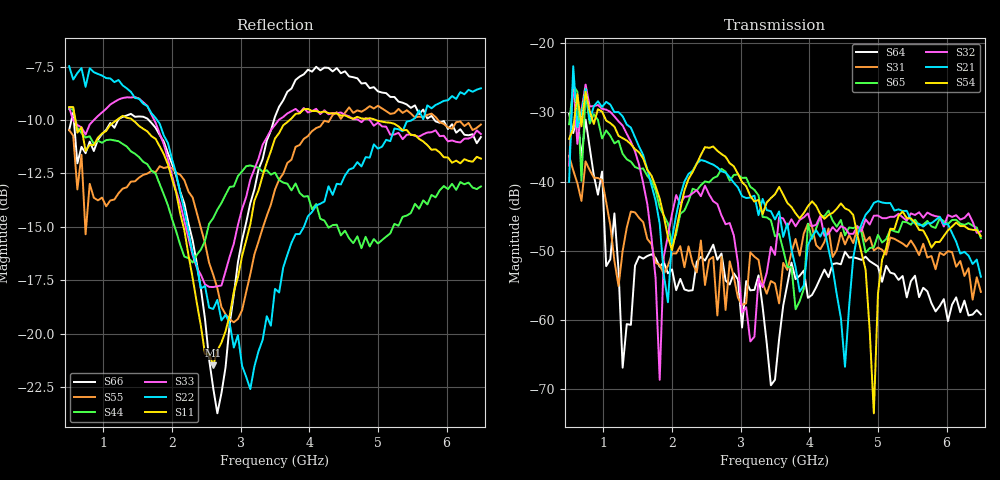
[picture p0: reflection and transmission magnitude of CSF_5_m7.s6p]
!Keysight Technologies,M9804A,MY58100912,A.14.10.03
!Date: Thursday, April 27, 2023 10:28:33
!Correction: S11(C  6-Port  )
!S12(C  6-Port  )
!S13(C  6-Port  )
!S14(C  6-Port  )
!S15(C  6-Port  )
!S16(C  6-Port  )
!S21(C  6-Port  )
!S22(C  6-Port  )
!S23(C  6-Port  )
!S24(C  6-Port  )
!S25(C  6-Port  )
!S26(C  6-Port  )
!S31(C  6-Port  )
!S32(C  6-Port  )
!S33(C  6-Port  )
!S34(C  6-Port  )
!S35(C  6-Port  )
!S36(C  6-Port  )
!S41(C  6-Port  )
!S42(C  6-Port  )
!S43(C  6-Port  )
!S44(C  6-Port  )
!S45(C  6-Port  )
!S46(C  6-Port  )
!S51(C  6-Port  )
!S52(C  6-Port  )
!S53(C  6-Port  )
!S54(C  6-Port  )
!S55(C  6-Port  )
!S56(C  6-Port  )
!S61(C  6-Port  )
!S62(C  6-Port  )
!S63(C  6-Port  )
!S64(C  6-Port  )
!S65(C  6-Port  )
!S66(C  6-Port  )
!S6P File: Measurement: :
# Hz S  RI  R 50
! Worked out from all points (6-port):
!   101 points, 500 MHz to 6.5 GHz, reference 50 ohm
!   strongest paths, dB at 500 MHz, 2 GHz, 3.5 GHz, 5 GHz, 6.5 GHz:
!     S54: -33.8, -49.9, -41.8, -56.3, -47.9
!     S21: -40.0, -48.2, -45.5, -42.8, -53.8
!     S32: -37.7, -44.6, -50.6, -44.9, -47.2
!     S65: -31.7, -49.3, -47.9, -47.7, -48.2
!     S31: -36.3, -50.4, -54.7, -49.5, -55.9
!     S64: -30.2, -52.7, -68.6, -52.3, -59.2
!   lowest |S11| = -21.5 dB at 2.6 GHz (marker M1), VSWR 1.18, Z = 42.5 + j2.16 ohm
!   |S11| at or under -10 dB: 590.4 MHz to 1.195 GHz (604.2 MHz wide, 67.7 % of centre); 1.426 GHz to 3.715 GHz (2.289 GHz wide, 89.1 % of centre); 4.97 GHz to end of sweep
